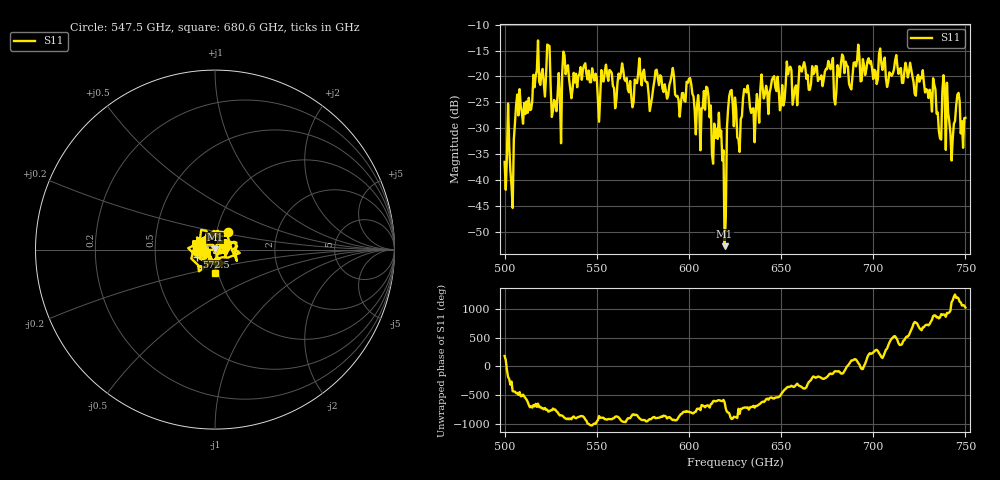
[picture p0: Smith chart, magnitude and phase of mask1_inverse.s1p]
!Created with skrf (http://scikit-rf.org).
# GHz S MA R 50.0
!freq magS11 angS11
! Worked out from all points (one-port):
!   401 points, 500 GHz to 750 GHz, reference 50 ohm
!   lowest |S11| = -52.7 dB at 619.4 GHz (marker M1), VSWR 1.00, Z = 50 + j0.232 ohm
!   |S11| at or under -10 dB: start of sweep to end of sweep
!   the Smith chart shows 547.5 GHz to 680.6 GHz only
!   S11 on the Smith chart (normalised r, x): 547.5 GHz: 1.13, +0.22; 572.5 GHz: 0.81, -0.07; 680.6 GHz: 0.97, -0.25
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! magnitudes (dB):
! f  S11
! 500 GHz  -36.4
! 503.8 GHz  -41.0
! 506.9 GHz  -23.5
! 513.8 GHz  -26.5
! 516.9 GHz  -19.8
! 523.8 GHz  -14.0
! 526.9 GHz  -24.5
! 531.2 GHz  -19.3
! 547.5 GHz  -18.4
! 562.5 GHz  -20.4
! 572.5 GHz  -19.3
! 593.8 GHz  -23.7
! 609.4 GHz  -22.0
! 613.8 GHz  -29.1
! 617.5 GHz  -30.4
! 619.4 GHz  -52.7
! 621.9 GHz  -23.8
! 625 GHz  -24.1
! 656.2 GHz  -25.4
! 680.6 GHz  -17.8
! 687.5 GHz  -22.1
! 718.8 GHz  -20.2
! 733.8 GHz  -22.5
! 735.6 GHz  -30.6
! 738.8 GHz  -22.6
! 742.5 GHz  -36.2
! 745.6 GHz  -23.5
! 750 GHz  -28.0
